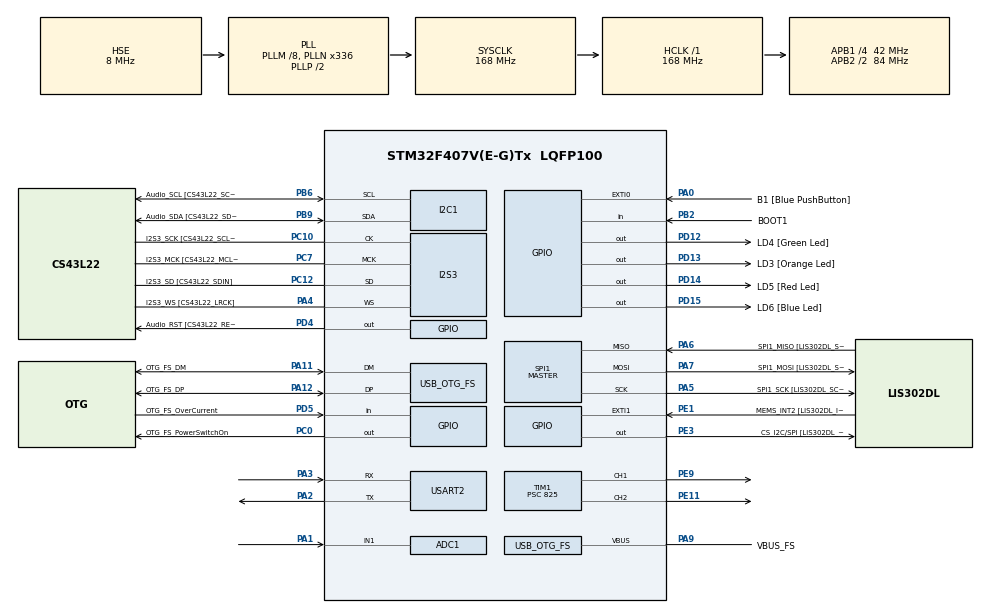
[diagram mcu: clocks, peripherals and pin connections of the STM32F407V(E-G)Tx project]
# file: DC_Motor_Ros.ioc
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ADC1.Channel-0\#ChannelRegularConversion=ADC_CHANNEL_1
ADC1.NbrOfConversionFlag=1
ADC1.Rank-0\#ChannelRegularConversion=1
ADC1.SamplingTime-0\#ChannelRegularConversion=ADC_SAMPLETIME_3CYCLES
ADC1.master=1
Dma.Request0=USART2_RX
Dma.Request1=USART2_TX
Dma.USART2_RX.0.Direction=DMA_PERIPH_TO_MEMORY
Dma.USART2_RX.0.FIFOMode=DMA_FIFOMODE_DISABLE
Dma.USART2_RX.0.Instance=DMA1_Stream5
Dma.USART2_RX.0.MemDataAlignment=DMA_MDATAALIGN_BYTE
Dma.USART2_RX.0.MemInc=DMA_MINC_ENABLE
Dma.USART2_RX.0.Mode=DMA_NORMAL
Dma.USART2_RX.0.PeriphDataAlignment=DMA_PDATAALIGN_BYTE
Dma.USART2_RX.0.PeriphInc=DMA_PINC_DISABLE
Dma.USART2_RX.0.Priority=DMA_PRIORITY_VERY_HIGH
Dma.USART2_TX.1.Direction=DMA_MEMORY_TO_PERIPH
Dma.USART2_TX.1.FIFOMode=DMA_FIFOMODE_DISABLE
Dma.USART2_TX.1.Instance=DMA1_Stream6
Dma.USART2_TX.1.MemDataAlignment=DMA_MDATAALIGN_BYTE
Dma.USART2_TX.1.MemInc=DMA_MINC_ENABLE
Dma.USART2_TX.1.Mode=DMA_NORMAL
Dma.USART2_TX.1.PeriphDataAlignment=DMA_PDATAALIGN_BYTE
Dma.USART2_TX.1.PeriphInc=DMA_PINC_DISABLE
Dma.USART2_TX.1.Priority=DMA_PRIORITY_VERY_HIGH
FREERTOS.Tasks01=defaultTask,24,3000,StartDefaultTask,Default,NULL,Dynamic,NULL,NULL
I2S3.AudioFreq-Half_Duplex_Master=I2S_AUDIOFREQ_96K
I2S3.ErrorAudioFreq=-2.34 %
I2S3.ErrorAudioFreq-Half_Duplex_Master=0.8 %
I2S3.FullDuplexMode=I2S_FULLDUPLEXMODE_DISABLE
I2S3.Instance=SPI$Index
I2S3.RealAudioFreq=93.75 KHz
I2S3.RealAudioFreq-Half_Duplex_Master=96.774 KHz
I2S3.VirtualMode=I2S_MODE_MASTER
Mcu.Family=STM32F4
Mcu.Name=STM32F407V(E-G)Tx
Mcu.Package=LQFP100
NVIC.DMA1_Stream5_IRQn=true\:5\:0\:false\:false\:true\:true\:false\:true\:true
NVIC.DMA1_Stream6_IRQn=true\:5\:0\:false\:false\:true\:true\:false\:true\:true
NVIC.OTG_FS_IRQn=true\:5\:0\:false\:false\:true\:true\:true\:true\:true
NVIC.PriorityGroup=NVIC_PRIORITYGROUP_4
NVIC.USART2_IRQn=true\:5\:0\:false\:false\:true\:true\:true\:true\:true
PA0-WKUP.GPIO_Label=B1 [Blue PushButton]
PA0-WKUP.GPIO_ModeDefaultEXTI=GPIO_MODE_EVT_RISING
PA0-WKUP.GPIO_PuPd=GPIO_NOPULL
PA0-WKUP.Signal=GPXTI0
PA1.Signal=ADCx_IN1
PA10.GPIO_Label=OTG_FS_ID
PA10.GPIO_Mode=GPIO_MODE_AF_PP
PA10.GPIO_PuPd=GPIO_NOPULL
PA10.GPIO_Speed=GPIO_SPEED_FREQ_LOW
PA10.Signal=USB_OTG_FS_ID
PA11.GPIO_Label=OTG_FS_DM
PA11.GPIO_Mode=GPIO_MODE_AF_PP
PA11.GPIO_PuPd=GPIO_NOPULL
PA11.GPIO_Speed=GPIO_SPEED_FREQ_LOW
PA11.Mode=Host_Only
PA11.Signal=USB_OTG_FS_DM
PA12.GPIO_Label=OTG_FS_DP
PA12.GPIO_Mode=GPIO_MODE_AF_PP
PA12.GPIO_PuPd=GPIO_NOPULL
PA12.GPIO_Speed=GPIO_SPEED_FREQ_LOW
PA12.Mode=Host_Only
PA12.Signal=USB_OTG_FS_DP
PA13.GPIO_Label=SWDIO
PA13.Mode=Serial_Wire
PA13.Signal=SYS_JTMS-SWDIO
PA14.GPIO_Label=SWCLK
PA14.Mode=Serial_Wire
PA14.Signal=SYS_JTCK-SWCLK
PA2.Mode=Asynchronous
PA2.Signal=USART2_TX
PA3.Mode=Asynchronous
PA3.Signal=USART2_RX
PA4.GPIO_Label=I2S3_WS [CS43L22_LRCK]
PA4.GPIO_Mode=GPIO_MODE_AF_PP
PA4.GPIO_PuPd=GPIO_NOPULL
PA4.GPIO_Speed=GPIO_SPEED_FREQ_LOW
PA4.Mode=Half_Duplex_Master
PA4.Signal=I2S3_WS
PA5.GPIO_Label=SPI1_SCK [LIS302DL_SCL/SPC]
PA5.GPIO_Mode=GPIO_MODE_AF_PP
PA5.GPIO_PuPd=GPIO_NOPULL
PA5.GPIO_Speed=GPIO_SPEED_FREQ_LOW
PA5.Mode=Full_Duplex_Master
PA5.Signal=SPI1_SCK
PA6.GPIO_Label=SPI1_MISO [LIS302DL_SDO]
PA6.GPIO_Mode=GPIO_MODE_AF_PP
PA6.GPIO_PuPd=GPIO_NOPULL
PA6.GPIO_Speed=GPIO_SPEED_FREQ_LOW
PA6.Mode=Full_Duplex_Master
PA6.Signal=SPI1_MISO
PA7.GPIO_Label=SPI1_MOSI [LIS302DL_SDA/SDI/SDO]
PA7.GPIO_Mode=GPIO_MODE_AF_PP
PA7.GPIO_PuPd=GPIO_NOPULL
PA7.GPIO_Speed=GPIO_SPEED_FREQ_LOW
PA7.Mode=Full_Duplex_Master
PA7.Signal=SPI1_MOSI
PA9.GPIO_Label=VBUS_FS
PA9.GPIO_Mode=GPIO_MODE_INPUT
PA9.GPIO_PuPd=GPIO_NOPULL
PA9.Mode=Activate_VBUS
PA9.Signal=USB_OTG_FS_VBUS
PB10.GPIO_Label=CLK_IN [MP45DT02_CLK]
PB10.GPIO_Mode=GPIO_MODE_AF_PP
PB10.GPIO_PuPd=GPIO_NOPULL
PB10.GPIO_Speed=GPIO_SPEED_FREQ_LOW
PB10.Signal=I2S2_CK
PB2.GPIO_Label=BOOT1
PB2.GPIO_Mode=GPIO_MODE_INPUT
PB2.GPIO_PuPd=GPIO_NOPULL
PB2.Signal=GPIO_Input
PB3.GPIO_Label=SWO
PB3.Signal=SYS_JTDO-SWO
PB6.GPIO_Label=Audio_SCL [CS43L22_SCL]
PB6.GPIO_Mode=GPIO_MODE_AF_OD
PB6.GPIO_Pu=GPIO_PULLUP
PB6.GPIO_PuPd=GPIO_NOPULL
PB6.GPIO_Speed=GPIO_SPEED_FREQ_LOW
PB6.Mode=I2C
PB6.Signal=I2C1_SCL
PB9.GPIO_Label=Audio_SDA [CS43L22_SDA]
PB9.GPIO_Mode=GPIO_MODE_AF_OD
PB9.GPIO_Pu=GPIO_PULLUP
PB9.GPIO_PuPd=GPIO_NOPULL
PB9.GPIO_Speed=GPIO_SPEED_FREQ_LOW
PB9.Mode=I2C
PB9.Signal=I2C1_SDA
PC0.GPIO_Label=OTG_FS_PowerSwitchOn
PC0.GPIO_PuPd=GPIO_NOPULL
PC0.GPIO_Speed=GPIO_SPEED_FREQ_LOW
PC0.PinState=GPIO_PIN_SET
PC0.Signal=GPIO_Output
PC10.GPIO_Label=I2S3_SCK [CS43L22_SCLK]
PC10.GPIO_Mode=GPIO_MODE_AF_PP
PC10.GPIO_PuPd=GPIO_NOPULL
PC10.GPIO_Speed=GPIO_SPEED_FREQ_LOW
PC10.Mode=Half_Duplex_Master
PC10.Signal=I2S3_CK
PC12.GPIO_Label=I2S3_SD [CS43L22_SDIN]
PC12.GPIO_Mode=GPIO_MODE_AF_PP
PC12.GPIO_PuPd=GPIO_NOPULL
PC12.GPIO_Speed=GPIO_SPEED_FREQ_LOW
PC12.Mode=Half_Duplex_Master
PC12.Signal=I2S3_SD
PC14-OSC32_IN.GPIO_Label=PC14-OSC32_IN
PC14-OSC32_IN.Mode=LSE-External-Oscillator
PC14-OSC32_IN.Signal=RCC_OSC32_IN
PC15-OSC32_OUT.GPIO_Label=PC15-OSC32_OUT
PC15-OSC32_OUT.Mode=LSE-External-Oscillator
PC15-OSC32_OUT.Signal=RCC_OSC32_OUT
PC3.GPIO_Label=PDM_OUT [MP45DT02_DOUT]
PC3.GPIO_Mode=GPIO_MODE_AF_PP
PC3.GPIO_PuPd=GPIO_NOPULL
PC3.GPIO_Speed=GPIO_SPEED_FREQ_LOW
PC3.Signal=I2S2_SD
PC7.GPIO_Label=I2S3_MCK [CS43L22_MCLK]
PC7.GPIO_Mode=GPIO_MODE_AF_PP
PC7.GPIO_PuPd=GPIO_NOPULL
PC7.GPIO_Speed=GPIO_SPEED_FREQ_LOW
PC7.Mode=Master_Clock_Activated
PC7.Signal=I2S3_MCK
PD12.GPIO_Label=LD4 [Green Led]
PD12.GPIO_PuPd=GPIO_NOPULL
PD12.GPIO_Speed=GPIO_SPEED_FREQ_LOW
PD12.Signal=GPIO_Output
PD13.GPIO_Label=LD3 [Orange Led]
PD13.GPIO_PuPd=GPIO_NOPULL
PD13.GPIO_Speed=GPIO_SPEED_FREQ_LOW
PD13.Signal=GPIO_Output
PD14.GPIO_Label=LD5 [Red Led]
PD14.GPIO_PuPd=GPIO_NOPULL
PD14.GPIO_Speed=GPIO_SPEED_FREQ_LOW
PD14.Signal=GPIO_Output
PD15.GPIO_Label=LD6 [Blue Led]
PD15.GPIO_PuPd=GPIO_NOPULL
PD15.GPIO_Speed=GPIO_SPEED_FREQ_LOW
PD15.Signal=GPIO_Output
PD4.GPIO_Label=Audio_RST [CS43L22_RESET]
PD4.GPIO_PuPd=GPIO_NOPULL
PD4.GPIO_Speed=GPIO_SPEED_FREQ_LOW
PD4.Signal=GPIO_Output
PD5.GPIO_Label=OTG_FS_OverCurrent
PD5.GPIO_Mode=GPIO_MODE_INPUT
PD5.GPIO_PuPd=GPIO_NOPULL
PD5.Signal=GPIO_Input
PE1.GPIO_Label=MEMS_INT2 [LIS302DL_INT2]
PE1.GPIO_ModeDefaultEXTI=GPIO_MODE_EVT_RISING
PE1.GPIO_PuPd=GPIO_NOPULL
PE1.Signal=GPXTI1
PE11.Signal=S_TIM1_CH2
PE3.GPIO_Label=CS_I2C/SPI [LIS302DL_CS_I2C/SPI]
PE3.GPIO_PuPd=GPIO_NOPULL
PE3.GPIO_Speed=GPIO_SPEED_FREQ_LOW
PE3.Signal=GPIO_Output
PE9.Signal=S_TIM1_CH1
PH0-OSC_IN.GPIO_Label=PH0-OSC_IN
PH0-OSC_IN.Mode=HSE-External-Oscillator
PH0-OSC_IN.Signal=RCC_OSC_IN
PH1-OSC_OUT.GPIO_Label=PH1-OSC_OUT
PH1-OSC_OUT.Mode=HSE-External-Oscillator
PH1-OSC_OUT.Signal=RCC_OSC_OUT
ProjectManager.HeapSize=0x200
ProjectManager.StackSize=0x400
ProjectManager.TargetToolchain=STM32CubeIDE
RCC.48MHZClocksFreq_Value=48000000
RCC.AHBFreq_Value=168000000
RCC.APB1CLKDivider=RCC_HCLK_DIV4
RCC.APB1Freq_Value=42000000
RCC.APB1TimFreq_Value=84000000
RCC.APB2CLKDivider=RCC_HCLK_DIV2
RCC.APB2Freq_Value=84000000
RCC.APB2TimFreq_Value=168000000
RCC.CortexFreq_Value=168000000
RCC.HCLKFreq_Value=168000000
RCC.HSE_VALUE=8000000
RCC.HSI_VALUE=16000000
RCC.PLLM=8
RCC.PLLN=336
RCC.PLLQ=7
RCC.SYSCLKFreq_VALUE=168000000
RCC.SYSCLKSource=RCC_SYSCLKSOURCE_PLLCLK
RCC.VCOOutputFreq_Value=336000000
SH.ADCx_IN1.0=ADC1_IN1,IN1
SH.S_TIM1_CH1.0=TIM1_CH1,PWM Generation1 CH1
SH.S_TIM1_CH2.0=TIM1_CH2,PWM Generation2 CH2
SPI1.BaudRatePrescaler-Full_Duplex_Master=SPI_BAUDRATEPRESCALER_2
SPI1.CalculateBaudRate-Full_Duplex_Master=42.0 MBits/s
SPI1.Direction=SPI_DIRECTION_2LINES
SPI1.Mode=SPI_MODE_MASTER
SPI1.Mode-Full_Duplex_Master=SPI_MODE_MASTER
SPI1.VirtualType=VM_MASTER
TIM1.AutoReloadPreload=TIM_AUTORELOAD_PRELOAD_ENABLE
TIM1.Channel-PWM\ Generation1\ CH1=TIM_CHANNEL_1
TIM1.Channel-PWM\ Generation2\ CH2=TIM_CHANNEL_2
TIM1.Period=4094
TIM1.Prescaler=825
USART2.VirtualMode=VM_ASYNC
USB_HOST.BSP.number=1
USB_HOST.USBH_HandleTypeDef-CDC_FS=hUsbHostFS
USB_HOST.USBH_USE_OS-CDC_FS=0
USB_HOST.VirtualModeFS=Cdc
USB_HOST0.BSP.STBoard=false
USB_HOST0.BSP.api=Unknown
USB_HOST0.BSP.instance=PC0
USB_HOST0.BSP.ip=GPIO
USB_HOST0.BSP.mode=Output
USB_HOST0.BSP.name=Drive_VBUS_FS
USB_HOST0.BSP.solution=PC0
USB_OTG_FS.VirtualMode=Host_Only
USB_OTG_FS.phy_itface=HCD_PHY_EMBEDDED
VP_FREERTOS_VS_CMSIS_V2.Mode=CMSIS_V2
VP_USB_HOST_VS_USB_HOST_CDC_FS.Mode=CDC_FS
board=STM32F407G-DISC1

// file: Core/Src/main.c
/* USER CODE BEGIN Header */
/**
  ******************************************************************************
  * @file           : main.c
  * @brief          : Main program body
  ******************************************************************************
  * @attention
  *
  * Copyright (c) 2023 STMicroelectronics.
  * All rights reserved.
  *
  * This software is licensed under terms that can be found in the LICENSE file
  * in the root directory of this software component.
  * If no LICENSE file comes with this software, it is provided AS-IS.
  *
  ******************************************************************************
  */
/* USER CODE END Header */
#include "main.h"
#include "cmsis_os.h"
#include "usb_host.h"

/* USER CODE BEGIN Includes */
#include <rcl/rcl.h>
#include <rcl/error_handling.h>
#include <rclc/rclc.h>
#include <rclc/executor.h>
#include <uxr/client/transport.h>
#include <rmw_microxrcedds_c/config.h>
#include <rmw_microros/rmw_microros.h>

#include <std_msgs/msg/int32.h>
uint16_t adc_value;
/* USER CODE END Includes */

ADC_HandleTypeDef hadc1;

I2C_HandleTypeDef hi2c1;

I2S_HandleTypeDef hi2s3;

SPI_HandleTypeDef hspi1;

TIM_HandleTypeDef htim1;

UART_HandleTypeDef huart2;
DMA_HandleTypeDef hdma_usart2_rx;
DMA_HandleTypeDef hdma_usart2_tx;

/* Definitions for defaultTask */
osThreadId_t defaultTaskHandle;
const osThreadAttr_t defaultTask_attributes = {
  .name = "defaultTask",
  .stack_size = 3000 * 4,
  .priority = (osPriority_t) osPriorityNormal,
};

void SystemClock_Config(void);
static void MX_GPIO_Init(void);
static void MX_DMA_Init(void);
static void MX_I2C1_Init(void);
static void MX_I2S3_Init(void);
static void MX_SPI1_Init(void);
static void MX_ADC1_Init(void);
static void MX_TIM1_Init(void);
static void MX_USART2_UART_Init(void);
void StartDefaultTask(void *argument);

/* USER CODE BEGIN 0 */
int16_t Read_ADC()
{
	HAL_ADC_Start(&hadc1);

	if(HAL_ADC_PollForConversion(&hadc1, 100000)==HAL_OK)
		adc_value = HAL_ADC_GetValue(&hadc1);
	return adc_value;
	HAL_ADC_Stop(&hadc1);
}

/* USER CODE END 0 */

int main(void)
{

  /* MCU Configuration--------------------------------------------------------*/

  /* Reset of all peripherals, Initializes the Flash interface and the Systick. */
  HAL_Init();

  /* Configure the system clock */
  SystemClock_Config();

  /* Initialize all configured peripherals */
  MX_GPIO_Init();
  MX_DMA_Init();
  MX_I2C1_Init();
  MX_I2S3_Init();
  MX_SPI1_Init();
  MX_ADC1_Init();
  MX_TIM1_Init();
  MX_USART2_UART_Init();

  /* Init scheduler */
  osKernelInitialize();

  /* Create the thread(s) */
  /* creation of defaultTask */
  defaultTaskHandle = osThreadNew(StartDefaultTask, NULL, &defaultTask_attributes);

  /* Start scheduler */
  HAL_TIM_PWM_Start(&htim1, TIM_CHANNEL_1);//PWM sinyalleri baslatildi.
  HAL_TIM_PWM_Start(&htim1, TIM_CHANNEL_2);
  // NOT!!!
  // PWM ler oskernelstart() fonksiyonundan sonra yazilirsa calismiyor.
  osKernelStart();

  /* We should never get here as control is now taken by the scheduler */
  /* Infinite loop */
  while (1)
  {

  }
}

void SystemClock_Config(void)
{
  RCC_OscInitTypeDef RCC_OscInitStruct = {0};
  RCC_ClkInitTypeDef RCC_ClkInitStruct = {0};

  /** Configure the main internal regulator output voltage
  */
  __HAL_RCC_PWR_CLK_ENABLE();
  __HAL_PWR_VOLTAGESCALING_CONFIG(PWR_REGULATOR_VOLTAGE_SCALE1);

  /** Initializes the RCC Oscillators according to the specified parameters
  * in the RCC_OscInitTypeDef structure.
  */
  RCC_OscInitStruct.OscillatorType = RCC_OSCILLATORTYPE_HSE;
  RCC_OscInitStruct.HSEState = RCC_HSE_ON;
  RCC_OscInitStruct.PLL.PLLState = RCC_PLL_ON;
  RCC_OscInitStruct.PLL.PLLSource = RCC_PLLSOURCE_HSE;
  RCC_OscInitStruct.PLL.PLLM = 8;
  RCC_OscInitStruct.PLL.PLLN = 336;
  RCC_OscInitStruct.PLL.PLLP = RCC_PLLP_DIV2;
  RCC_OscInitStruct.PLL.PLLQ = 7;
  if (HAL_RCC_OscConfig(&RCC_OscInitStruct) != HAL_OK)
  {
    Error_Handler();
  }

  /** Initializes the CPU, AHB and APB buses clocks
  */
  RCC_ClkInitStruct.ClockType = RCC_CLOCKTYPE_HCLK|RCC_CLOCKTYPE_SYSCLK
                              |RCC_CLOCKTYPE_PCLK1|RCC_CLOCKTYPE_PCLK2;
  RCC_ClkInitStruct.SYSCLKSource = RCC_SYSCLKSOURCE_PLLCLK;
  RCC_ClkInitStruct.AHBCLKDivider = RCC_SYSCLK_DIV1;
  RCC_ClkInitStruct.APB1CLKDivider = RCC_HCLK_DIV4;
  RCC_ClkInitStruct.APB2CLKDivider = RCC_HCLK_DIV2;

  if (HAL_RCC_ClockConfig(&RCC_ClkInitStruct, FLASH_LATENCY_5) != HAL_OK)
  {
    Error_Handler();
  }
}

static void MX_ADC1_Init(void)
{

  ADC_ChannelConfTypeDef sConfig = {0};

  /** Configure the global features of the ADC (Clock, Resolution, Data Alignment and number of conversion)
  */
  hadc1.Instance = ADC1;
  hadc1.Init.ClockPrescaler = ADC_CLOCK_SYNC_PCLK_DIV4;
  hadc1.Init.Resolution = ADC_RESOLUTION_12B;
  hadc1.Init.ScanConvMode = DISABLE;
  hadc1.Init.ContinuousConvMode = DISABLE;
  hadc1.Init.DiscontinuousConvMode = DISABLE;
  hadc1.Init.ExternalTrigConvEdge = ADC_EXTERNALTRIGCONVEDGE_NONE;
  hadc1.Init.ExternalTrigConv = ADC_SOFTWARE_START;
  hadc1.Init.DataAlign = ADC_DATAALIGN_RIGHT;
  hadc1.Init.NbrOfConversion = 1;
  hadc1.Init.DMAContinuousRequests = DISABLE;
  hadc1.Init.EOCSelection = ADC_EOC_SINGLE_CONV;
  if (HAL_ADC_Init(&hadc1) != HAL_OK)
  {
    Error_Handler();
  }

  /** Configure for the selected ADC regular channel its corresponding rank in the sequencer and its sample time.
  */
  sConfig.Channel = ADC_CHANNEL_1;
  sConfig.Rank = 1;
  sConfig.SamplingTime = ADC_SAMPLETIME_3CYCLES;
  if (HAL_ADC_ConfigChannel(&hadc1, &sConfig) != HAL_OK)
  {
    Error_Handler();
  }

}

static void MX_I2C1_Init(void)
{

  hi2c1.Instance = I2C1;
  hi2c1.Init.ClockSpeed = 100000;
  hi2c1.Init.DutyCycle = I2C_DUTYCYCLE_2;
  hi2c1.Init.OwnAddress1 = 0;
  hi2c1.Init.AddressingMode = I2C_ADDRESSINGMODE_7BIT;
  hi2c1.Init.DualAddressMode = I2C_DUALADDRESS_DISABLE;
  hi2c1.Init.OwnAddress2 = 0;
  hi2c1.Init.GeneralCallMode = I2C_GENERALCALL_DISABLE;
  hi2c1.Init.NoStretchMode = I2C_NOSTRETCH_DISABLE;
  if (HAL_I2C_Init(&hi2c1) != HAL_OK)
  {
    Error_Handler();
  }

}

static void MX_I2S3_Init(void)
{

  hi2s3.Instance = SPI3;
  hi2s3.Init.Mode = I2S_MODE_MASTER_TX;
  hi2s3.Init.Standard = I2S_STANDARD_PHILIPS;
  hi2s3.Init.DataFormat = I2S_DATAFORMAT_16B;
  hi2s3.Init.MCLKOutput = I2S_MCLKOUTPUT_ENABLE;
  hi2s3.Init.AudioFreq = I2S_AUDIOFREQ_96K;
  hi2s3.Init.CPOL = I2S_CPOL_LOW;
  hi2s3.Init.ClockSource = I2S_CLOCK_PLL;
  hi2s3.Init.FullDuplexMode = I2S_FULLDUPLEXMODE_DISABLE;
  if (HAL_I2S_Init(&hi2s3) != HAL_OK)
  {
    Error_Handler();
  }

}

static void MX_SPI1_Init(void)
{

  /* SPI1 parameter configuration*/
  hspi1.Instance = SPI1;
  hspi1.Init.Mode = SPI_MODE_MASTER;
  hspi1.Init.Direction = SPI_DIRECTION_2LINES;
  hspi1.Init.DataSize = SPI_DATASIZE_8BIT;
  hspi1.Init.CLKPolarity = SPI_POLARITY_LOW;
  hspi1.Init.CLKPhase = SPI_PHASE_1EDGE;
  hspi1.Init.NSS = SPI_NSS_SOFT;
  hspi1.Init.BaudRatePrescaler = SPI_BAUDRATEPRESCALER_2;
  hspi1.Init.FirstBit = SPI_FIRSTBIT_MSB;
  hspi1.Init.TIMode = SPI_TIMODE_DISABLE;
  hspi1.Init.CRCCalculation = SPI_CRCCALCULATION_DISABLE;
  hspi1.Init.CRCPolynomial = 10;
  if (HAL_SPI_Init(&hspi1) != HAL_OK)
  {
    Error_Handler();
  }

}

static void MX_TIM1_Init(void)
{

  TIM_MasterConfigTypeDef sMasterConfig = {0};
  TIM_OC_InitTypeDef sConfigOC = {0};
  TIM_BreakDeadTimeConfigTypeDef sBreakDeadTimeConfig = {0};

  htim1.Instance = TIM1;
  htim1.Init.Prescaler = 825;
  htim1.Init.CounterMode = TIM_COUNTERMODE_UP;
  htim1.Init.Period = 4094;
  htim1.Init.ClockDivision = TIM_CLOCKDIVISION_DIV1;
  htim1.Init.RepetitionCounter = 0;
  htim1.Init.AutoReloadPreload = TIM_AUTORELOAD_PRELOAD_ENABLE;
  if (HAL_TIM_PWM_Init(&htim1) != HAL_OK)
  {
    Error_Handler();
  }
  sMasterConfig.MasterOutputTrigger = TIM_TRGO_RESET;
  sMasterConfig.MasterSlaveMode = TIM_MASTERSLAVEMODE_DISABLE;
  if (HAL_TIMEx_MasterConfigSynchronization(&htim1, &sMasterConfig) != HAL_OK)
  {
    Error_Handler();
  }
  sConfigOC.OCMode = TIM_OCMODE_PWM1;
  sConfigOC.Pulse = 0;
  sConfigOC.OCPolarity = TIM_OCPOLARITY_HIGH;
  sConfigOC.OCNPolarity = TIM_OCNPOLARITY_HIGH;
  sConfigOC.OCFastMode = TIM_OCFAST_DISABLE;
  sConfigOC.OCIdleState = TIM_OCIDLESTATE_RESET;
  sConfigOC.OCNIdleState = TIM_OCNIDLESTATE_RESET;
  if (HAL_TIM_PWM_ConfigChannel(&htim1, &sConfigOC, TIM_CHANNEL_1) != HAL_OK)
  {
    Error_Handler();
  }
  if (HAL_TIM_PWM_ConfigChannel(&htim1, &sConfigOC, TIM_CHANNEL_2) != HAL_OK)
  {
    Error_Handler();
  }
  sBreakDeadTimeConfig.OffStateRunMode = TIM_OSSR_DISABLE;
  sBreakDeadTimeConfig.OffStateIDLEMode = TIM_OSSI_DISABLE;
  sBreakDeadTimeConfig.LockLevel = TIM_LOCKLEVEL_OFF;
  sBreakDeadTimeConfig.DeadTime = 0;
  sBreakDeadTimeConfig.BreakState = TIM_BREAK_DISABLE;
  sBreakDeadTimeConfig.BreakPolarity = TIM_BREAKPOLARITY_HIGH;
  sBreakDeadTimeConfig.AutomaticOutput = TIM_AUTOMATICOUTPUT_DISABLE;
  if (HAL_TIMEx_ConfigBreakDeadTime(&htim1, &sBreakDeadTimeConfig) != HAL_OK)
  {
    Error_Handler();
  }
  HAL_TIM_MspPostInit(&htim1);

}

static void MX_USART2_UART_Init(void)
{

  huart2.Instance = USART2;
  huart2.Init.BaudRate = 115200;
  huart2.Init.WordLength = UART_WORDLENGTH_8B;
  huart2.Init.StopBits = UART_STOPBITS_1;
  huart2.Init.Parity = UART_PARITY_NONE;
  huart2.Init.Mode = UART_MODE_TX_RX;
  huart2.Init.HwFlowCtl = UART_HWCONTROL_NONE;
  huart2.Init.OverSampling = UART_OVERSAMPLING_16;
  if (HAL_UART_Init(&huart2) != HAL_OK)
  {
    Error_Handler();
  }

}

static void MX_DMA_Init(void)
{

  /* DMA controller clock enable */
  __HAL_RCC_DMA1_CLK_ENABLE();

  /* DMA interrupt init */
  /* DMA1_Stream5_IRQn interrupt configuration */
  HAL_NVIC_SetPriority(DMA1_Stream5_IRQn, 5, 0);
  HAL_NVIC_EnableIRQ(DMA1_Stream5_IRQn);
  /* DMA1_Stream6_IRQn interrupt configuration */
  HAL_NVIC_SetPriority(DMA1_Stream6_IRQn, 5, 0);
  HAL_NVIC_EnableIRQ(DMA1_Stream6_IRQn);

}

static void MX_GPIO_Init(void)
{
  GPIO_InitTypeDef GPIO_InitStruct = {0};

  /* GPIO Ports Clock Enable */
  __HAL_RCC_GPIOE_CLK_ENABLE();
  __HAL_RCC_GPIOC_CLK_ENABLE();
  __HAL_RCC_GPIOH_CLK_ENABLE();
  __HAL_RCC_GPIOA_CLK_ENABLE();
  __HAL_RCC_GPIOB_CLK_ENABLE();
  __HAL_RCC_GPIOD_CLK_ENABLE();

  /*Configure GPIO pin Output Level */
  HAL_GPIO_WritePin(CS_I2C_SPI_GPIO_Port, CS_I2C_SPI_Pin, GPIO_PIN_RESET);

  /*Configure GPIO pin Output Level */
  HAL_GPIO_WritePin(OTG_FS_PowerSwitchOn_GPIO_Port, OTG_FS_PowerSwitchOn_Pin, GPIO_PIN_SET);

  /*Configure GPIO pin Output Level */
  HAL_GPIO_WritePin(GPIOD, LD4_Pin|LD3_Pin|LD5_Pin|LD6_Pin
                          |Audio_RST_Pin, GPIO_PIN_RESET);

  /*Configure GPIO pin : CS_I2C_SPI_Pin */
  GPIO_InitStruct.Pin = CS_I2C_SPI_Pin;
  GPIO_InitStruct.Mode = GPIO_MODE_OUTPUT_PP;
  GPIO_InitStruct.Pull = GPIO_NOPULL;
  GPIO_InitStruct.Speed = GPIO_SPEED_FREQ_LOW;
  HAL_GPIO_Init(CS_I2C_SPI_GPIO_Port, &GPIO_InitStruct);

  /*Configure GPIO pin : OTG_FS_PowerSwitchOn_Pin */
  GPIO_InitStruct.Pin = OTG_FS_PowerSwitchOn_Pin;
  GPIO_InitStruct.Mode = GPIO_MODE_OUTPUT_PP;
  GPIO_InitStruct.Pull = GPIO_NOPULL;
  GPIO_InitStruct.Speed = GPIO_SPEED_FREQ_LOW;
  HAL_GPIO_Init(OTG_FS_PowerSwitchOn_GPIO_Port, &GPIO_InitStruct);

  /*Configure GPIO pin : PDM_OUT_Pin */
  GPIO_InitStruct.Pin = PDM_OUT_Pin;
  GPIO_InitStruct.Mode = GPIO_MODE_AF_PP;
  GPIO_InitStruct.Pull = GPIO_NOPULL;
  GPIO_InitStruct.Speed = GPIO_SPEED_FREQ_LOW;
  GPIO_InitStruct.Alternate = GPIO_AF5_SPI2;
  HAL_GPIO_Init(PDM_OUT_GPIO_Port, &GPIO_InitStruct);

  /*Configure GPIO pin : B1_Pin */
  GPIO_InitStruct.Pin = B1_Pin;
  GPIO_InitStruct.Mode = GPIO_MODE_EVT_RISING;
  GPIO_InitStruct.Pull = GPIO_NOPULL;
  HAL_GPIO_Init(B1_GPIO_Port, &GPIO_InitStruct);

  /*Configure GPIO pin : BOOT1_Pin */
  GPIO_InitStruct.Pin = BOOT1_Pin;
  GPIO_InitStruct.Mode = GPIO_MODE_INPUT;
  GPIO_InitStruct.Pull = GPIO_NOPULL;
  HAL_GPIO_Init(BOOT1_GPIO_Port, &GPIO_InitStruct);

  /*Configure GPIO pin : CLK_IN_Pin */
  GPIO_InitStruct.Pin = CLK_IN_Pin;
  GPIO_InitStruct.Mode = GPIO_MODE_AF_PP;
  GPIO_InitStruct.Pull = GPIO_NOPULL;
  GPIO_InitStruct.Speed = GPIO_SPEED_FREQ_LOW;
  GPIO_InitStruct.Alternate = GPIO_AF5_SPI2;
  HAL_GPIO_Init(CLK_IN_GPIO_Port, &GPIO_InitStruct);

  /*Configure GPIO pins : LD4_Pin LD3_Pin LD5_Pin LD6_Pin
                           Audio_RST_Pin */
  GPIO_InitStruct.Pin = LD4_Pin|LD3_Pin|LD5_Pin|LD6_Pin
                          |Audio_RST_Pin;
  GPIO_InitStruct.Mode = GPIO_MODE_OUTPUT_PP;
  GPIO_InitStruct.Pull = GPIO_NOPULL;
  GPIO_InitStruct.Speed = GPIO_SPEED_FREQ_LOW;
  HAL_GPIO_Init(GPIOD, &GPIO_InitStruct);

  /*Configure GPIO pin : OTG_FS_OverCurrent_Pin */
  GPIO_InitStruct.Pin = OTG_FS_OverCurrent_Pin;
  GPIO_InitStruct.Mode = GPIO_MODE_INPUT;
  GPIO_InitStruct.Pull = GPIO_NOPULL;
  HAL_GPIO_Init(OTG_FS_OverCurrent_GPIO_Port, &GPIO_InitStruct);

  /*Configure GPIO pin : MEMS_INT2_Pin */
  GPIO_InitStruct.Pin = MEMS_INT2_Pin;
  GPIO_InitStruct.Mode = GPIO_MODE_EVT_RISING;
  GPIO_InitStruct.Pull = GPIO_NOPULL;
  HAL_GPIO_Init(MEMS_INT2_GPIO_Port, &GPIO_InitStruct);

}

/* USER CODE BEGIN 4 */
bool cubemx_transport_open(struct uxrCustomTransport * transport);
bool cubemx_transport_close(struct uxrCustomTransport * transport);
size_t cubemx_transport_write(struct uxrCustomTransport* transport, const uint8_t * buf, size_t len, uint8_t * err);
size_t cubemx_transport_read(struct uxrCustomTransport* transport, uint8_t* buf, size_t len, int timeout, uint8_t* err);

void * microros_allocate(size_t size, void * state);
void microros_deallocate(void * pointer, void * state);
void * microros_reallocate(void * pointer, size_t size, void * state);
void * microros_zero_allocate(size_t number_of_elements, size_t size_of_element, void * state);
/* USER CODE END 4 */

void StartDefaultTask(void *argument)
{
  /* init code for USB_HOST */
  MX_USB_HOST_Init();
  /* USER CODE BEGIN 5 */

  // micro-ROS configuration

  rmw_uros_set_custom_transport(
    true,
    (void *) &huart2,
    cubemx_transport_open,
    cubemx_transport_close,
    cubemx_transport_write,
    cubemx_transport_read);

  rcl_allocator_t freeRTOS_allocator = rcutils_get_zero_initialized_allocator();
  freeRTOS_allocator.allocate = microros_allocate;
  freeRTOS_allocator.deallocate = microros_deallocate;
  freeRTOS_allocator.reallocate = microros_reallocate;
  freeRTOS_allocator.zero_allocate =  microros_zero_allocate;

  if (!rcutils_set_default_allocator(&freeRTOS_allocator)) {
      printf("Error on default allocators (line %d)\n", __LINE__);
  }

  // micro-ROS app

  rcl_publisher_t publisher;
  std_msgs__msg__Int32 msg;
  rclc_support_t support;
  rcl_allocator_t allocator;
  rcl_node_t node;

  allocator = rcl_get_default_allocator();

  //create init_options
  rclc_support_init(&support, 0, NULL, &allocator);

  // create node
  rclc_node_init_default(&node, "cubemx_node", "", &support);

  // create publisher
  rclc_publisher_init_default(
    &publisher,
    &node,
    ROSIDL_GET_MSG_TYPE_SUPPORT(std_msgs, msg, Int32),
    "DC_motor_publisher");

  //msg.data = Read_ADC();

  for(;;)
  {
	  	msg.data = Read_ADC();
	    int sensorValue = Read_ADC();
	    if (sensorValue < 2047) // okunan değer / 2 sonucu 2047 bulundu (pot max 4095)
	     {
	     // reverse rotation
	     int reversePWM = -(sensorValue - 2047) *2; // - (value / (değer/2)) *2
	     //__HAL_TIM_SET_COMPARE(&htim1, TIM_CHANNEL_1,0);  //LPWM
	     __HAL_TIM_SET_COMPARE(&htim1, TIM_CHANNEL_2,reversePWM);  //RPWM

	     }
	    else
	     {
	     // forward rotation
	     int forwardPWM = (sensorValue - 2046) * 2; //(value / (değer/2)) *2
	     __HAL_TIM_SET_COMPARE(&htim1, TIM_CHANNEL_1,forwardPWM);  //LPWM
	     //__HAL_TIM_SET_COMPARE(&htim1, TIM_CHANNEL_2,0);  //RPWM
	     }
    rcl_ret_t ret = rcl_publish(&publisher, &msg, NULL);
    if (ret != RCL_RET_OK)
    {
      printf("Error publishing (line %d)\n", __LINE__);
    }

    osDelay(10);
  }
  /* USER CODE END 5 */
}

void Error_Handler(void)
{
  __disable_irq();
  while (1)
  {
  }
}
